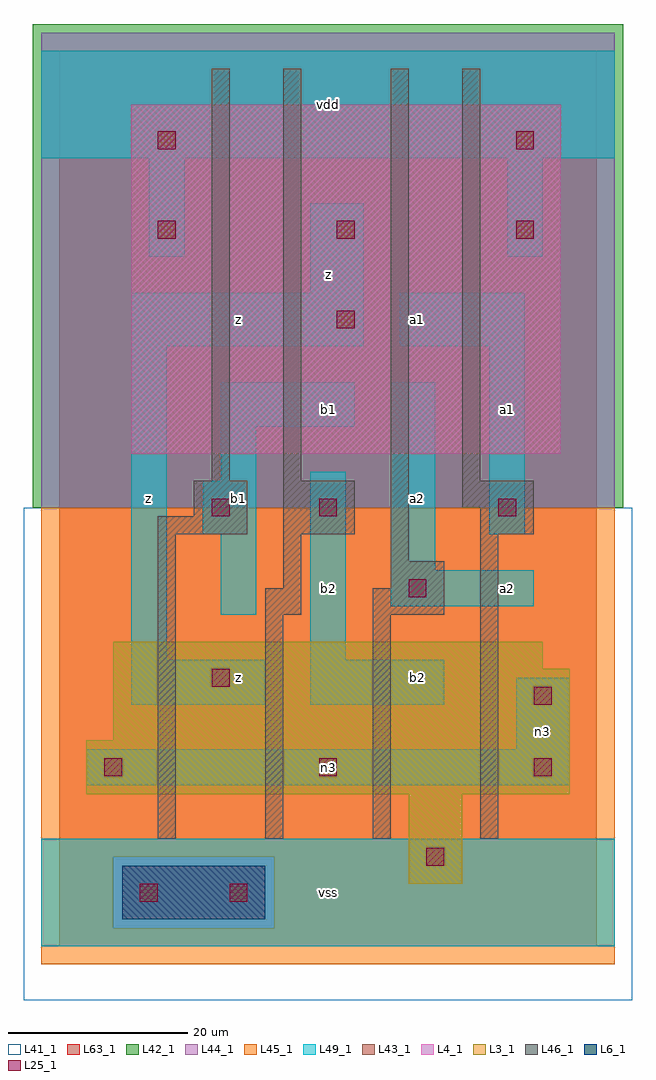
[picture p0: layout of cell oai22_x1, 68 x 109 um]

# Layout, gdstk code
import gdstk
lib = gdstk.Library(unit=1e-6, precision=1e-09)
def R(c, l, rs):  # rectangles x0, y0, x1, y1
    for r in rs: c.add(gdstk.rectangle(r[:2], r[2:], *l))
def A(c, l, x, y, w, h, nx, ny, dx, dy):  # array of equal rectangles
    R(c, l, [(x+i*dx, y+j*dy, x+i*dx+w, y+j*dy+h) for i in range(nx) for j in range(ny)])
L3_1 = (3, 1)
L4_1 = (4, 1)
L6_1 = (6, 1)
L25_1 = (25, 1)
L41_1 = (41, 1)
L42_1 = (42, 1)
L43_1 = (43, 1)
L44_1 = (44, 1)
L45_1 = (45, 1)
L46_1 = (46, 1)
L49_1 = (49, 1)
L63_1 = (63, 1)

oai22_x1 = lib.new_cell('oai22_x1')
R(oai22_x1, L3_1, [(39,7,45,17), (3,17,57,23), (6,23,57,31), (6,31,54,34)])
R(oai22_x1, L4_1, [(8,55,56,94)])
R(oai22_x1, L6_1, [(7,3,23,9)])
A(oai22_x1, L25_1, 5, 19, 2, 2, 3, 1, 24, 0)
A(oai22_x1, L25_1, 11, 79, 2, 2, 3, 1, 20, 0)
R(oai22_x1, L25_1, [(9,5,11,7), (19,5,21,7), (41,9,43,11), (53,27,55,29), (17,29,19,31), (39,39,41,41), (17,48,19,50), (29,48,31,50), (49,48,51,50), (31,69,33,71), (11,89,13,91), (51,89,53,91)])
R(oai22_x1, L41_1, [(-4,-6,64,49), (-3,-3,63,49)])
R(oai22_x1, L42_1, [(-3,49,63,103)])
R(oai22_x1, L43_1, [(7,3,23,9), (39,7,45,17), (3,17,57,23), (6,23,57,31), (6,31,54,34), (8,55,56,94)])
R(oai22_x1, L44_1, [(6,2,24,10), (-2,49,62,102)])
R(oai22_x1, L45_1, [(-2,-2,62,2), (-2,2,6,10), (24,2,62,10), (-2,10,62,49)])
R(oai22_x1, L46_1, [(11,12,13,46), (23,12,25,37), (35,12,37,37), (47,12,49,46), (23,37,27,40), (35,37,43,40), (25,40,27,46), (37,40,43,43), (37,43,39,98), (11,46,21,48), (25,46,33,52), (47,46,53,49), (15,48,21,52), (45,49,53,52), (17,52,19,98), (25,52,27,98), (45,52,47,98)])
R(oai22_x1, L49_1, [(-2,0,62,12), (3,18,57,22), (51,22,57,30), (8,27,23,32), (28,27,43,32), (8,32,12,67), (28,32,32,53), (18,37,22,46), (37,38,53,42), (37,42,42,63), (16,46,22,52), (48,46,52,67), (18,52,22,58), (18,58,33,63), (8,67,34,73), (38,67,52,73), (28,73,34,83), (10,77,14,88), (50,77,54,88), (-2,88,62,100)])
R(oai22_x1, L63_1, [(0,0,60,100)])
oai22_x1.add(gdstk.Label('z', (20,30), layer=49, texttype=1))
oai22_x1.add(gdstk.Label('z', (20,30), layer=49, texttype=1))
oai22_x1.add(gdstk.Label('z', (10,50), layer=49, texttype=1))
oai22_x1.add(gdstk.Label('z', (10,50), layer=49, texttype=1))
oai22_x1.add(gdstk.Label('b1', (20,50), layer=49, texttype=1))
oai22_x1.add(gdstk.Label('b1', (20,50), layer=49, texttype=1))
oai22_x1.add(gdstk.Label('z', (20,70), layer=49, texttype=1))
oai22_x1.add(gdstk.Label('z', (20,70), layer=49, texttype=1))
oai22_x1.add(gdstk.Label('vss', (30,6), layer=49, texttype=1))
oai22_x1.add(gdstk.Label('vss', (30,6), layer=49, texttype=1))
oai22_x1.add(gdstk.Label('b2', (30,40), layer=49, texttype=1))
oai22_x1.add(gdstk.Label('b2', (30,40), layer=49, texttype=1))
oai22_x1.add(gdstk.Label('b1', (30,60), layer=49, texttype=1))
oai22_x1.add(gdstk.Label('b1', (30,60), layer=49, texttype=1))
oai22_x1.add(gdstk.Label('z', (30,75), layer=49, texttype=1))
oai22_x1.add(gdstk.Label('z', (30,75), layer=49, texttype=1))
oai22_x1.add(gdstk.Label('vdd', (30,94), layer=49, texttype=1))
oai22_x1.add(gdstk.Label('vdd', (30,94), layer=49, texttype=1))
oai22_x1.add(gdstk.Label('b2', (40,30), layer=49, texttype=1))
oai22_x1.add(gdstk.Label('b2', (40,30), layer=49, texttype=1))
oai22_x1.add(gdstk.Label('a2', (40,50), layer=49, texttype=1))
oai22_x1.add(gdstk.Label('a2', (40,50), layer=49, texttype=1))
oai22_x1.add(gdstk.Label('a1', (40,70), layer=49, texttype=1))
oai22_x1.add(gdstk.Label('a1', (40,70), layer=49, texttype=1))
oai22_x1.add(gdstk.Label('n3', (54,24), layer=49, texttype=1))
oai22_x1.add(gdstk.Label('n3', (30,20), layer=49, texttype=1))
oai22_x1.add(gdstk.Label('a2', (50,40), layer=49, texttype=1))
oai22_x1.add(gdstk.Label('a2', (50,40), layer=49, texttype=1))
oai22_x1.add(gdstk.Label('a1', (50,60), layer=49, texttype=1))
oai22_x1.add(gdstk.Label('a1', (50,60), layer=49, texttype=1))

lib.write_gds('oai22_x1.gds')
